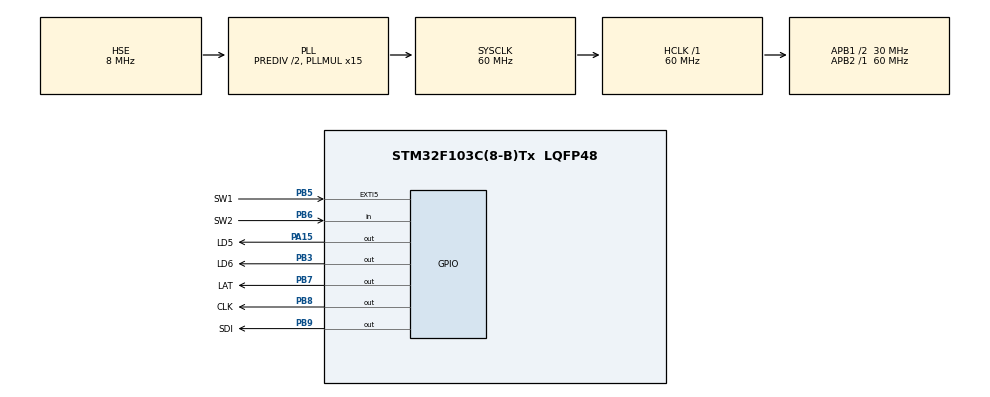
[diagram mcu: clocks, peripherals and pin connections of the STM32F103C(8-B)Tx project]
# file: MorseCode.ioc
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Mcu.Family=STM32F1
Mcu.Name=STM32F103C(8-B)Tx
Mcu.Package=LQFP48
NVIC.EXTI9_5_IRQn=true\:0\:0\:false\:false\:true\:true\:true\:true
NVIC.PriorityGroup=NVIC_PRIORITYGROUP_4
NVIC.TIM3_IRQn=true\:0\:0\:false\:false\:true\:true\:true\:true
PA13.Mode=Serial_Wire
PA13.Signal=SYS_JTMS-SWDIO
PA14.Mode=Serial_Wire
PA14.Signal=SYS_JTCK-SWCLK
PA15.GPIO_Label=LD5
PA15.Signal=GPIO_Output
PB3.GPIO_Label=LD6
PB3.Signal=GPIO_Output
PB5.GPIO_Label=SW1
PB5.GPIO_ModeDefaultEXTI=GPIO_MODE_IT_RISING_FALLING
PB5.Signal=GPXTI5
PB6.GPIO_Label=SW2
PB6.Signal=GPIO_Input
PB7.GPIO_Label=LAT
PB7.GPIO_ModeDefaultOutputPP=GPIO_MODE_OUTPUT_OD
PB7.GPIO_PuPd=GPIO_NOPULL
PB7.GPIO_Speed=GPIO_SPEED_FREQ_HIGH
PB7.PinState=GPIO_PIN_RESET
PB7.Signal=GPIO_Output
PB8.GPIO_Label=CLK
PB8.GPIO_ModeDefaultOutputPP=GPIO_MODE_OUTPUT_OD
PB8.GPIO_PuPd=GPIO_NOPULL
PB8.GPIO_Speed=GPIO_SPEED_FREQ_HIGH
PB8.PinState=GPIO_PIN_RESET
PB8.Signal=GPIO_Output
PB9.GPIO_Label=SDI
PB9.GPIO_ModeDefaultOutputPP=GPIO_MODE_OUTPUT_OD
PB9.GPIO_PuPd=GPIO_NOPULL
PB9.GPIO_Speed=GPIO_SPEED_FREQ_HIGH
PB9.PinState=GPIO_PIN_RESET
PB9.Signal=GPIO_Output
PD0-OSC_IN.Mode=HSE-External-Oscillator
PD0-OSC_IN.Signal=RCC_OSC_IN
PD1-OSC_OUT.Mode=HSE-External-Oscillator
PD1-OSC_OUT.Signal=RCC_OSC_OUT
ProjectManager.HeapSize=0x200
ProjectManager.StackSize=0x400
ProjectManager.TargetToolchain=MDK-ARM V5.32
RCC.AHBFreq_Value=60000000
RCC.APB1CLKDivider=RCC_HCLK_DIV2
RCC.APB1Freq_Value=30000000
RCC.APB1TimFreq_Value=60000000
RCC.APB2Freq_Value=60000000
RCC.APB2TimFreq_Value=60000000
RCC.HCLKFreq_Value=60000000
RCC.HSEDivPLL=RCC_HSE_PREDIV_DIV2
RCC.PLLMUL=RCC_PLL_MUL15
RCC.PLLSourceVirtual=RCC_PLLSOURCE_HSE
RCC.SYSCLKFreq_VALUE=60000000
RCC.SYSCLKSource=RCC_SYSCLKSOURCE_PLLCLK
RCC.USBFreq_Value=60000000
TIM2.Period=4000-1
TIM2.Prescaler=60000-1
TIM3.AutoReloadPreload=TIM_AUTORELOAD_PRELOAD_ENABLE
TIM3.Period=3000-1
TIM3.Prescaler=60000-1
TIM3.TIM_MasterOutputTrigger=TIM_TRGO_RESET
VP_TIM2_VS_ClockSourceINT.Mode=Internal
VP_TIM3_VS_ClockSourceINT.Mode=Internal
board=custom

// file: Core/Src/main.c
/* USER CODE BEGIN Header */
/**
  ******************************************************************************
  * @file           : main.c
  * @brief          : Main program body
  ******************************************************************************
  * @attention
  *
  * Copyright (c) 2024 STMicroelectronics.
  * All rights reserved.
  *
  * This software is licensed under terms that can be found in the LICENSE file
  * in the root directory of this software component.
  * If no LICENSE file comes with this software, it is provided AS-IS.
  *
  ******************************************************************************
  */
/* USER CODE END Header */
#include "main.h"
#include "tim.h"
#include "gpio.h"

/* USER CODE BEGIN Includes */
#include <string.h>
#include "../../../BSP/display.h"
/* USER CODE END Includes */

/* USER CODE BEGIN PV */
	typedef struct {
			char *code;
			char letter;
	} MorseCode;

	int last = 0, first = 0, diff = 0, i = 0, cnt = 0, j = 0;
	char buffer[10];
	char c;
	char word[4];
	MorseCode morse_dict[] = {
    {".-", 'A'}, {"-...", 'B'}, {"-.-.", 'C'}, {"-..", 'D'}, {".", 'E'}, {"..-.", 'F'},
    {"--.", 'G'}, {"....", 'H'}, {"..", 'I'}, {".---", 'J'}, {"-.-", 'K'}, {".-..", 'L'},
    {"--", 'M'}, {"-.", 'N'}, {"---", 'O'}, {".--.", 'P'}, {"--.-", 'Q'}, {".-.", 'R'},
    {"...", 'S'}, {"-", 'T'}, {"..-", 'U'}, {"...-", 'V'}, {".--", 'W'}, {"-..-", 'X'},
    {"-.--", 'Y'}, {"--..", 'Z'}, {"-----", '0'}, {".----", '1'}, {"..---", '2'},
    {"...--", '3'}, {"....-", '4'}, {".....", '5'}, {"-....", '6'}, {"--...", '7'},
    {"---..", '8'}, {"----.", '9'}
};
/* USER CODE END PV */

void SystemClock_Config(void);

/* USER CODE BEGIN 0 */
char morse_to_letter(const char *morse_code) {
    for (int i = 0; i < 36; i++) {
        if (strcmp(morse_dict[i].code, morse_code) == 0) {
            return morse_dict[i].letter;
        }
    }
    return '?';
}

void HAL_SYSTICK_Callback(void)
	{
	DisplayRun();
}
/* USER CODE END 0 */

int main(void)
{

  /* MCU Configuration--------------------------------------------------------*/

  /* Reset of all peripherals, Initializes the Flash interface and the Systick. */
  HAL_Init();

  /* Configure the system clock */
  SystemClock_Config();

  /* Initialize all configured peripherals */
  MX_GPIO_Init();
  MX_TIM2_Init();
  MX_TIM3_Init();
  /* USER CODE BEGIN 2 */
	HAL_TIM_Base_Start(&htim2);
  /* USER CODE END 2 */

  /* Infinite loop */
  /* USER CODE BEGIN WHILE */
  while (1)
  {
		if ((cnt > 1) || (i == 5)){
			i = 0;
			cnt = 0;
			c = morse_to_letter(buffer);
			word[j] = c;
			j++;
			memset(buffer, '\0', 10);
		}
		if ((j == 4) || (HAL_GPIO_ReadPin(SW2_GPIO_Port,SW2_Pin) == GPIO_PIN_RESET)){
			DisplayString(word);
		}
    /* USER CODE END WHILE */

  }
}

void SystemClock_Config(void)
{
  RCC_OscInitTypeDef RCC_OscInitStruct = {0};
  RCC_ClkInitTypeDef RCC_ClkInitStruct = {0};

  /** Initializes the RCC Oscillators according to the specified parameters
  * in the RCC_OscInitTypeDef structure.
  */
  RCC_OscInitStruct.OscillatorType = RCC_OSCILLATORTYPE_HSE;
  RCC_OscInitStruct.HSEState = RCC_HSE_ON;
  RCC_OscInitStruct.HSEPredivValue = RCC_HSE_PREDIV_DIV2;
  RCC_OscInitStruct.HSIState = RCC_HSI_ON;
  RCC_OscInitStruct.PLL.PLLState = RCC_PLL_ON;
  RCC_OscInitStruct.PLL.PLLSource = RCC_PLLSOURCE_HSE;
  RCC_OscInitStruct.PLL.PLLMUL = RCC_PLL_MUL15;
  if (HAL_RCC_OscConfig(&RCC_OscInitStruct) != HAL_OK)
  {
    Error_Handler();
  }

  /** Initializes the CPU, AHB and APB buses clocks
  */
  RCC_ClkInitStruct.ClockType = RCC_CLOCKTYPE_HCLK|RCC_CLOCKTYPE_SYSCLK
                              |RCC_CLOCKTYPE_PCLK1|RCC_CLOCKTYPE_PCLK2;
  RCC_ClkInitStruct.SYSCLKSource = RCC_SYSCLKSOURCE_PLLCLK;
  RCC_ClkInitStruct.AHBCLKDivider = RCC_SYSCLK_DIV1;
  RCC_ClkInitStruct.APB1CLKDivider = RCC_HCLK_DIV2;
  RCC_ClkInitStruct.APB2CLKDivider = RCC_HCLK_DIV1;

  if (HAL_RCC_ClockConfig(&RCC_ClkInitStruct, FLASH_LATENCY_2) != HAL_OK)
  {
    Error_Handler();
  }
}

/* USER CODE BEGIN 4 */
	void HAL_GPIO_EXTI_Callback(uint16_t GPIO_Pin){
		if (GPIO_Pin == SW1_Pin){
			if (HAL_GPIO_ReadPin(SW1_GPIO_Port, SW1_Pin) == GPIO_PIN_RESET){
				first = TIM2->CNT;
				HAL_TIM_Base_Stop_IT(&htim3);
				TIM3->CNT = 0;
			}
			else {
				last = TIM2->CNT;
				if (last >= first){
					diff = last - first;
				}
				else {
					diff = 4000 - (first - last);
				}
				if (diff > 100 && diff < 600){
					buffer[i] = '.';
					i++;
				}
				else if(diff >= 600){
					buffer[i] = '-';
					i++;
				}

				HAL_TIM_Base_Start_IT(&htim3);
			}
		}
	}

	void HAL_TIM_PeriodElapsedCallback(TIM_HandleTypeDef *htim){
		if (htim->Instance == TIM3){
			cnt++;
		}
	}

/* USER CODE END 4 */

void Error_Handler(void)
{
  __disable_irq();
  while (1)
  {
  }
}
